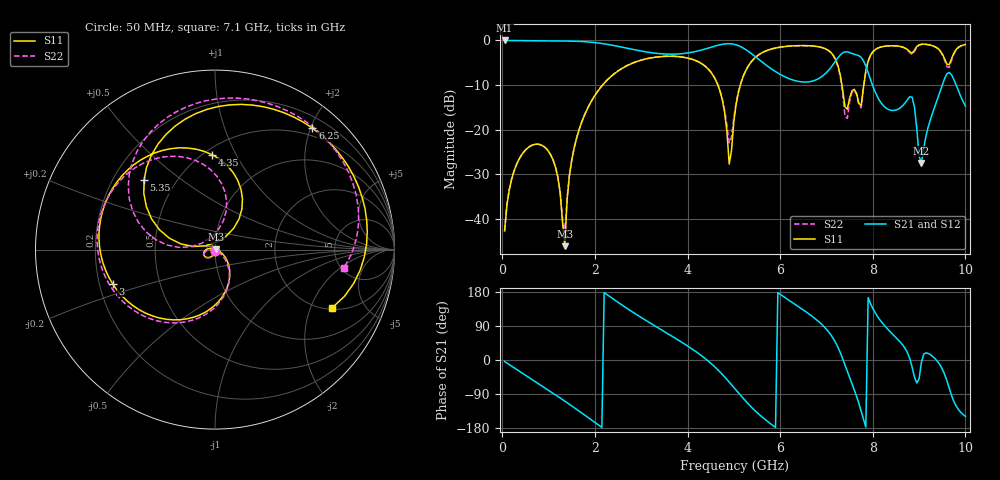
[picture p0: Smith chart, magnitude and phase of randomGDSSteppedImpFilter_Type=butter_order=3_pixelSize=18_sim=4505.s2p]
! freq	dB(S11)	phase(S11)	dB(S12)	phase(S12)
!  dB(S21)	phase(S21)	dB(S22)	phase(S22)
!S-par simulation data
#  GHz  S  DB  R 50
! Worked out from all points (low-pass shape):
!   200 points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, 50 MHz to 10 GHz, reference 50 ohm
!   highest |S21| = -0.01 dB at 50 MHz (marker M1); lowest = -27.4 dB at 9.05 GHz (marker M2)
!   |S21| within 3 dB of the highest: start of sweep to 3.456 GHz; 3.831 GHz to 5.386 GHz (1.555 GHz wide, 33.7 % of centre) (the widest 2 of 3)
!   lowest |S11| = -46.1 dB at 1.35 GHz (marker M3), VSWR 1.01, Z = 50.4 + j0.25 ohm
!   |S11| at or under -10 dB: start of sweep to 2.166 GHz; 4.655 GHz to 5.141 GHz (486.3 MHz wide, 9.93 % of centre); 7.334 GHz to 7.806 GHz (472.5 MHz wide, 6.24 % of centre)
!   |S22| runs from -43.2 to -0.9 dB; largest |S21 - S12| = 0
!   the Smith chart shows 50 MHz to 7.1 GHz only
!   S11 on the Smith chart (normalised r, x): 50 MHz: 1.00, -0.01; 3 GHz: 0.25, -0.15; 4.35 GHz: 0.55, +0.81; 5.35 GHz: 0.33, +0.37; 6.25 GHz: 0.37, +2.03; 7.1 GHz: 2.08, -2.88
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0.05  -42.63 -92.7  -0.01 -4.0  -0.01 -4.0  -42.63 -92.5
0.8  -23.29 -156.3  -0.11 -63.8  -0.11 -63.8  -23.29 -151.6
1.15  -28.43 172.0  -0.12 -92.1  -0.12 -92.1  -28.42 -174.9
1.35  -46.07 29.9  -0.14 -108.6  -0.14 -108.6  -43.22 -78.8
1.75  -17.36 -53.4  -0.27 -142.8  -0.27 -142.8  -17.33 -55.1
3  -4.41 -161.6  -2.38 112.1  -2.38 112.1  -4.40 -155.1
3.4  -3.65 167.9  -2.96 82.2  -2.96 82.2  -3.64 176.5
4.35  -5.53 91.7  -2.02 6.8  -2.02 6.8  -5.50 106.3
4.9  -27.68 80.0  -0.73 -58.1  -0.73 -58.1  -22.96 108.7
5.05  -14.26 170.5  -0.99 -79.7  -0.99 -79.7  -13.89 176.5
5.35  -5.15 135.7  -2.73 -120.8  -2.73 -120.8  -5.12 149.4
6.25  -1.23 51.3  -8.78 152.7  -8.78 152.7  -1.24 69.8
6.7  -1.24 15.5  -9.10 114.4  -9.10 114.4  -1.26 34.6
7.1  -2.74 -26.4  -6.00 65.5  -6.00 65.5  -2.79 -8.3
7.4  -14.86 -43.0  -2.57 -13.0  -2.57 -13.0  -16.94 -29.6
7.6  -10.93 -2.4  -3.10 -78.9  -3.10 -78.9  -11.18 21.7
7.8  -10.44 51.1  -4.56 -156.5  -4.56 -156.5  -10.69 75.0
8.35  -1.22 -16.7  -15.52 77.9  -15.52 77.9  -1.23 3.8
8.85  -2.84 -40.8  -12.73 -19.4  -12.73 -19.4  -3.17 -21.7
9.05  -0.86 -49.4  -27.42 -6.1  -27.42 -6.1  -0.89 -29.8
9.6  -5.33 -75.5  -7.51 -54.6  -7.51 -54.6  -5.87 -58.6
10  -0.93 -74.8  -14.68 -148.7  -14.68 -148.7  -0.92 -56.0
